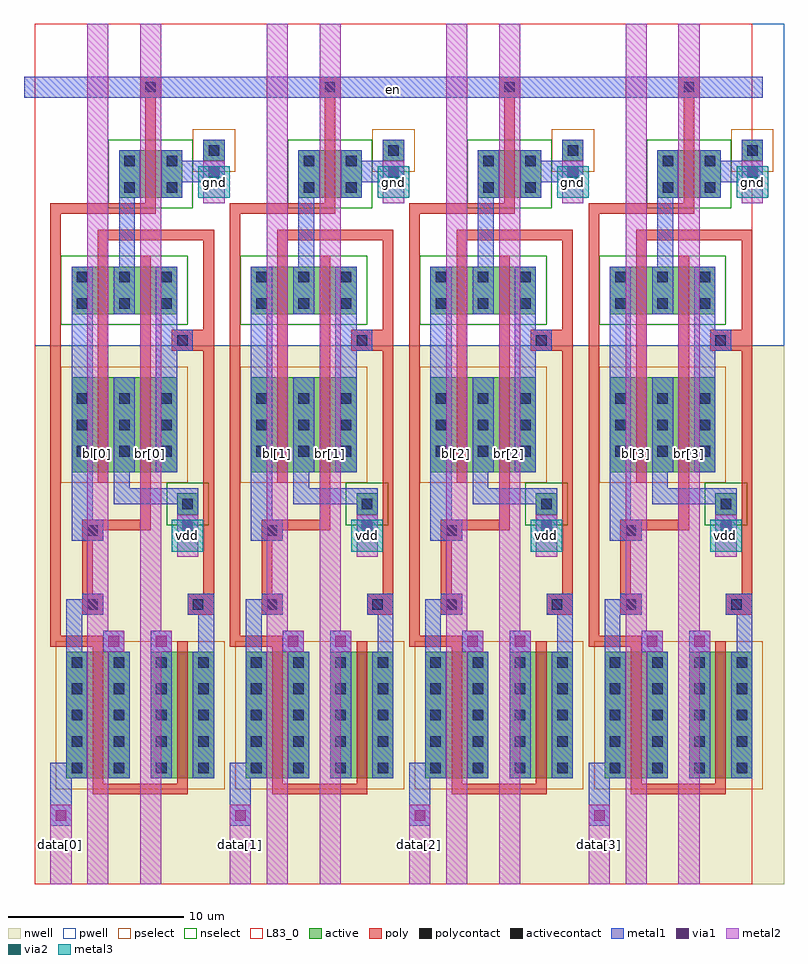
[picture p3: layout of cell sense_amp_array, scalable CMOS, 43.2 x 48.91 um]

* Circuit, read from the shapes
.subckt sense_amp_array bl[0] bl[1] bl[2] bl[3] br[0] br[1] br[2] br[3] data[0] data[1] data[2] data[3] en gnd vdd
M1 n1 n2 data[0] gnd nfet w=2.7u l=0.6u
M2 n2 data[0] n1 gnd nfet w=2.7u l=0.6u
M3 gnd en n1 gnd nfet w=2.7u l=0.6u
M4 n3 n4 data[1] gnd nfet w=2.7u l=0.6u
M5 n4 data[1] n3 gnd nfet w=2.7u l=0.6u
M6 gnd en n3 gnd nfet w=2.7u l=0.6u
M7 n5 n6 data[2] gnd nfet w=2.7u l=0.6u
M8 n6 data[2] n5 gnd nfet w=2.7u l=0.6u
M9 gnd en n5 gnd nfet w=2.7u l=0.6u
M10 n7 n8 data[3] gnd nfet w=2.7u l=0.6u
M11 n8 data[3] n7 gnd nfet w=2.7u l=0.6u
M12 gnd en n7 gnd nfet w=2.7u l=0.6u
M13 bl[0] en data[0] vdd pfet w=7.2u l=0.6u
M14 vdd n2 data[0] vdd pfet w=5.4u l=0.6u
M15 n2 data[0] vdd vdd pfet w=5.4u l=0.6u
M16 n2 en br[0] vdd pfet w=7.2u l=0.6u
M17 bl[1] en data[1] vdd pfet w=7.2u l=0.6u
M18 vdd n4 data[1] vdd pfet w=5.4u l=0.6u
M19 n4 data[1] vdd vdd pfet w=5.4u l=0.6u
M20 n4 en br[1] vdd pfet w=7.2u l=0.6u
M21 bl[2] en data[2] vdd pfet w=7.2u l=0.6u
M22 vdd n6 data[2] vdd pfet w=5.4u l=0.6u
M23 n6 data[2] vdd vdd pfet w=5.4u l=0.6u
M24 n6 en br[2] vdd pfet w=7.2u l=0.6u
M25 bl[3] en data[3] vdd pfet w=7.2u l=0.6u
M26 vdd n8 data[3] vdd pfet w=5.4u l=0.6u
M27 n8 data[3] vdd vdd pfet w=5.4u l=0.6u
M28 n8 en br[3] vdd pfet w=7.2u l=0.6u
.ends

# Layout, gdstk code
import gdstk
lib = gdstk.Library(unit=1e-6, precision=1e-09)
def R(c, l, rs):  # rectangles x0, y0, x1, y1
    for r in rs: c.add(gdstk.rectangle(r[:2], r[2:], *l))
def A(c, l, x, y, w, h, nx, ny, dx, dy):  # array of equal rectangles
    R(c, l, [(x+i*dx, y+j*dy, x+i*dx+w, y+j*dy+h) for i in range(nx) for j in range(ny)])
pwell = (41, 0)
nwell = (42, 0)
active = (43, 0)
pselect = (44, 0)
nselect = (45, 0)
poly = (46, 0)
polycontact = (47, 0)
activecontact = (48, 0)
metal1 = (49, 0)
via1 = (50, 0)
metal2 = (51, 0)
via2 = (61, 0)
metal3 = (62, 0)
L83_0 = (83, 0)

sense_amp = lib.new_cell('sense_amp')
R(sense_amp, pwell, [(0,30.6,12,48.9)])
R(sense_amp, nwell, [(0,0,12,30.6)])
R(sense_amp, active, [(1.8,6,5.4,13.2), (6.6,6,10.2,13.2), (8.1,21,9.3,22.2), (2.1,23.4,8.1,28.8), (2.1,32.4,8.1,35.1), (4.8,39,8.4,41.7), (9.6,41.1,10.8,42.3)])
R(sense_amp, pselect, [(1.2,5.4,10.8,13.8), (1.5,22.8,8.7,29.4), (9,40.5,11.4,42.9)])
R(sense_amp, nselect, [(7.5,20.4,9.9,22.8), (1.5,31.8,8.7,35.7), (4.2,38.4,9,42.3)])
R(sense_amp, poly, [(3.3,5.1,8.7,5.7), (3.3,5.7,3.9,13.5), (8.1,5.7,8.7,13.8), (0.9,13.5,3.9,14.1), (0.9,14.1,1.5,38.1), (2.7,15.3,3.9,16.5), (8.7,15.3,10.2,16.5), (2.7,16.5,3.3,19.5), (9.6,16.5,10.2,30.3), (2.7,19.5,3.9,20.1), (2.7,20.1,6.6,20.7), (6,20.7,6.6,35.7), (3.6,22.8,4.2,36.6), (7.8,30.3,10.2,31.5), (9.6,31.5,10.2,36.6), (3.6,36.6,10.2,37.2), (0.9,38.1,6.9,38.7), (6.3,38.7,6.9,44.7), (6,44.7,7.2,45.9)])
R(sense_amp, polycontact, [(3,15.6,3.6,16.2), (9,15.6,9.6,16.2), (3,19.8,3.6,20.4), (8.1,30.6,8.7,31.2), (6.3,45,6.9,45.6)])
A(sense_amp, activecontact, 2.1, 6.3, 0.6, 0.6, 4, 5, 2.4, 1.5)
A(sense_amp, activecontact, 2.4, 24.3, 0.6, 0.6, 3, 3, 2.4, 1.5)
A(sense_amp, activecontact, 2.4, 32.7, 0.6, 0.6, 3, 2, 2.4, 1.5)
R(sense_amp, activecontact, [(8.4,21.3,9,21.9), (5.1,39.3,5.7,39.9), (7.5,39.3,8.1,39.9), (5.1,40.8,5.7,41.4), (7.5,40.8,8.1,41.4), (9.9,41.4,10.5,42)])
R(sense_amp, metal1, [(0.9,3.3,2.1,6), (0.9,6,3,6.9), (4.2,6,5.4,13.2), (6.6,6,7.8,14.4), (9,6,10.2,13.2), (1.8,6.9,3,13.2), (1.8,13.2,2.7,15.3), (3.9,13.2,5.1,14.4), (9.3,13.2,10.2,15.3), (1.8,15.3,3.9,16.2), (8.7,15.3,10.2,16.5), (2.7,16.2,3.9,16.5), (2.1,19.5,3.9,20.7), (8.1,19.8,9.3,21.6), (2.1,20.7,3.3,35.1), (4.5,21.6,9.3,22.5), (4.5,22.5,5.4,23.4), (4.5,23.4,5.7,28.8), (6.9,23.4,8.1,30.3), (6.9,30.3,9,31.5), (6.9,31.5,8.1,35.1), (4.5,32.4,5.7,35.1), (4.8,35.1,5.7,39), (4.8,39,6,41.7), (7.2,39,8.4,39.9), (7.2,39.9,10.8,41.1), (7.2,41.1,8.4,41.7), (9.6,41.1,10.8,42.3), (-0.6,44.7,10.8,45.9), (-0.6,44.7,10.8,45.9)])
R(sense_amp, via1, [(1.2,3.6,1.8,4.2), (4.2,13.5,4.8,14.1), (6.9,13.5,7.5,14.1), (8.4,20.1,9,20.7), (9.9,40.2,10.5,40.8)])
R(sense_amp, metal2, [(3,-0.015,4.2,48.88), (6,-0.015,7.2,48.9), (0.9,0,2.1,4.5), (0.9,0,2.1,4.5), (3,0,4.2,48.9), (6,0,7.2,48.9), (3,13.2,5.1,14.4), (6,13.2,7.8,14.4), (8.1,18.6,9.3,21), (8.1,18.6,9.3,21), (9.6,38.7,10.8,41.1), (9.6,38.7,10.8,41.1)])
R(sense_amp, L83_0, [(0,0,10.2,48.9)])
sense_amp.add(gdstk.Label('en', (0,44.7), layer=49, texttype=0))
sense_amp.add(gdstk.Label('gnd', (10.2,39.3), layer=51, texttype=0))
sense_amp.add(gdstk.Label('vdd', (8.7,19.2), layer=51, texttype=0))
sense_amp.add(gdstk.Label('bl', (3.6,48.3), layer=51, texttype=0))
sense_amp.add(gdstk.Label('br', (6.6,48.3), layer=51, texttype=0))
sense_amp.add(gdstk.Label('dout', (1.5,0.9), layer=51, texttype=0))
sense_amp.add(gdstk.Label('bl', (3.6,24.45), layer=51, texttype=0))
sense_amp.add(gdstk.Label('br', (6.6,24.45), layer=51, texttype=0))
sense_amp.add(gdstk.Label('dout', (1.5,2.25), layer=51, texttype=0))
sense_amp.add(gdstk.Label('en', (5.1,45.3), layer=49, texttype=0))
sense_amp.add(gdstk.Label('vdd', (8.7,19.8), layer=51, texttype=0))
sense_amp.add(gdstk.Label('gnd', (10.2,39.9), layer=51, texttype=0))

metal2_via2_metal3_1x1 = lib.new_cell('metal2_via2_metal3_1x1')
R(metal2_via2_metal3_1x1, metal2, [(0.3,0.3,1.5,1.5)])
R(metal2_via2_metal3_1x1, via2, [(0.6,0.6,1.2,1.2)])
R(metal2_via2_metal3_1x1, metal3, [(0,0,1.8,1.8)])

sense_amp_array = lib.new_cell('sense_amp_array')
R(sense_amp_array, metal1, [(0,44.7,40.8,45.6)])
A(sense_amp_array, metal2, 0.9, 0, 1.2, 4.5, 4, 1, 10.2, 0)
R(sense_amp_array, metal2, [(3,0,4.2,48.9), (6,0,7.2,48.9), (13.2,0,14.4,48.9), (16.2,0,17.4,48.9), (23.4,0,24.6,48.9), (26.4,0,27.6,48.9), (33.6,0,34.8,48.9), (36.6,0,37.8,48.9)])
A(sense_amp_array, metal3, 7.95, 19.05, 1.5, 1.5, 4, 1, 10.2, 0)
A(sense_amp_array, metal3, 9.45, 39.15, 1.5, 1.5, 4, 1, 10.2, 0)
sense_amp_array.add(gdstk.Reference(sense_amp, (0,0)))
sense_amp_array.add(gdstk.Reference(metal2_via2_metal3_1x1, (9.3,39)))
sense_amp_array.add(gdstk.Reference(metal2_via2_metal3_1x1, (7.8,18.9)))
sense_amp_array.add(gdstk.Reference(sense_amp, (10.2,0)))
sense_amp_array.add(gdstk.Reference(metal2_via2_metal3_1x1, (19.5,39)))
sense_amp_array.add(gdstk.Reference(metal2_via2_metal3_1x1, (18,18.9)))
sense_amp_array.add(gdstk.Reference(sense_amp, (20.4,0)))
sense_amp_array.add(gdstk.Reference(metal2_via2_metal3_1x1, (29.7,39)))
sense_amp_array.add(gdstk.Reference(metal2_via2_metal3_1x1, (28.2,18.9)))
sense_amp_array.add(gdstk.Reference(sense_amp, (30.6,0)))
sense_amp_array.add(gdstk.Reference(metal2_via2_metal3_1x1, (39.9,39)))
sense_amp_array.add(gdstk.Reference(metal2_via2_metal3_1x1, (38.4,18.9)))
sense_amp_array.add(gdstk.Label('gnd', (10.2,39.9), layer=62, texttype=0))
sense_amp_array.add(gdstk.Label('gnd', (20.4,39.9), layer=62, texttype=0))
sense_amp_array.add(gdstk.Label('gnd', (30.6,39.9), layer=62, texttype=0))
sense_amp_array.add(gdstk.Label('gnd', (40.8,39.9), layer=62, texttype=0))
sense_amp_array.add(gdstk.Label('vdd', (8.7,19.8), layer=62, texttype=0))
sense_amp_array.add(gdstk.Label('vdd', (18.9,19.8), layer=62, texttype=0))
sense_amp_array.add(gdstk.Label('vdd', (29.1,19.8), layer=62, texttype=0))
sense_amp_array.add(gdstk.Label('vdd', (39.3,19.8), layer=62, texttype=0))
sense_amp_array.add(gdstk.Label('bl[0]', (3.6,24.45), layer=51, texttype=0))
sense_amp_array.add(gdstk.Label('br[0]', (6.6,24.45), layer=51, texttype=0))
sense_amp_array.add(gdstk.Label('data[0]', (1.5,2.25), layer=51, texttype=0))
sense_amp_array.add(gdstk.Label('bl[1]', (13.8,24.45), layer=51, texttype=0))
sense_amp_array.add(gdstk.Label('br[1]', (16.8,24.45), layer=51, texttype=0))
sense_amp_array.add(gdstk.Label('data[1]', (11.7,2.25), layer=51, texttype=0))
sense_amp_array.add(gdstk.Label('bl[2]', (24,24.45), layer=51, texttype=0))
sense_amp_array.add(gdstk.Label('br[2]', (27,24.45), layer=51, texttype=0))
sense_amp_array.add(gdstk.Label('data[2]', (21.9,2.25), layer=51, texttype=0))
sense_amp_array.add(gdstk.Label('bl[3]', (34.2,24.45), layer=51, texttype=0))
sense_amp_array.add(gdstk.Label('br[3]', (37.2,24.45), layer=51, texttype=0))
sense_amp_array.add(gdstk.Label('data[3]', (32.1,2.25), layer=51, texttype=0))
sense_amp_array.add(gdstk.Label('en', (20.4,45.15), layer=49, texttype=0))

lib.write_gds('sense_amp_array.gds')
